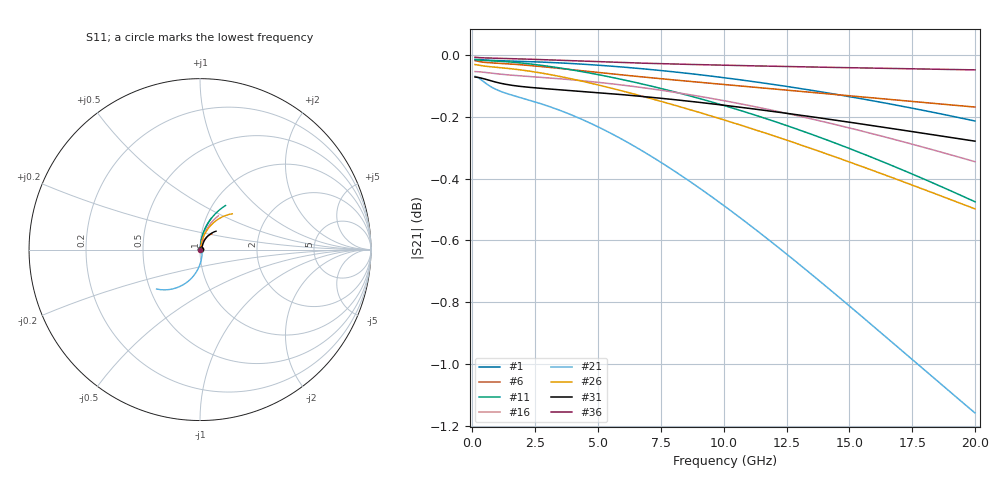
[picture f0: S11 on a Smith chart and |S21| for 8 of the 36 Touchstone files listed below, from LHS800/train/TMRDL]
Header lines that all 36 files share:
! Touchstone file exported from HFSS 2026.1.0
!  Design:  TMRDL
! Variables:
! Terminal data exported
# GHz S MA R 50.000000
Fixed: h_bsmrdl = 2um, h_ox = 20um, h_rdl = 5um, h_sub = 80um, h_tsv = 80um, h_via = 3um, l_bsmrdl = 300um, m_sub = 200um, r_tsv = 6um, s_tmrdl = 10um, w_bsmrdl = 18um, w_sub = 500um
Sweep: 100 MHz to 20 GHz
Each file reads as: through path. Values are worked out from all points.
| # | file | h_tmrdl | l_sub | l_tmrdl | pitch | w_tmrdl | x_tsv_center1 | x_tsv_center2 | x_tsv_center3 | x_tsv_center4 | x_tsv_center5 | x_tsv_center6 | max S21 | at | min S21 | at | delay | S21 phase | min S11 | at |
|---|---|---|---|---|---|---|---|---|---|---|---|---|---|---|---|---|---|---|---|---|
| 1 | dut860.s2p | 2.37um | 612.41um | 212.41um | 57.41um | 27.23um | 226.025um | 544.025um | 783.665um | 1101.665um | 1341.305um | 1659.305um | -0.01 dB | 100 MHz | -0.2 dB | 20 GHz | 2.58 ps | -10 deg at 10.1 GHz | -54.3 dB | 100 MHz |
| 2 | dut861.s2p | 5.12um | 677.14um | 277.14um | 35.35um | 14.52um | 284.4um | 602.4um | 894.06um | 1212.06um | 1503.72um | 1821.72um | -0.01 dB | 100 MHz | -0.2 dB | 20 GHz | 2.76 ps | -10 deg at 10.1 GHz | -54.8 dB | 100 MHz |
| 3 | dut862.s2p | 3.01um | 1021.47um | 621.47um | 32.74um | 28.38um | 635.66um | 953.66um | 1603.51um | 1921.51um | 2571.36um | 2889.36um | -0.03 dB | 100 MHz | -0.2 dB | 20 GHz | 4.9 ps | -18 deg at 10.1 GHz | -50.4 dB | 100 MHz |
| 4 | dut863.s2p | 2.44um | 1072.55um | 672.55um | 46.27um | 19.55um | 682.325um | 1000.325um | 1692.425um | 2010.425um | 2702.525um | 3020.525um | -0.05 dB | 100 MHz | -1.1 dB | 20 GHz | 6.5 ps | -25 deg at 10.1 GHz | -44.4 dB | 100 MHz |
| 5 | dut864.s2p | 3.18um | 641.29um | 241.29um | 30.76um | 29.35um | 255.965um | 573.965um | 844.605um | 1162.605um | 1433.245um | 1751.245um | -0.01 dB | 100 MHz | -0.1 dB | 20 GHz | 2.14 ps | -8 deg at 10.1 GHz | -58.0 dB | 100 MHz |
| 6 | dut865.s2p | 4.82um | 938.28um | 538.28um | 30.83um | 21.97um | 549.265um | 867.265um | 1427.515um | 1745.515um | 2305.765um | 2623.765um | -0.02 dB | 100 MHz | -0.2 dB | 20 GHz | 4.32 ps | -16 deg at 10.1 GHz | -52.9 dB | 100 MHz |
| 7 | dut866.s2p | 4um | 1145.96um | 745.96um | 35.95um | 19.99um | 755.955um | 1073.955um | 1839.905um | 2157.905um | 2923.855um | 3241.855um | -0.03 dB | 100 MHz | -0.6 dB | 20 GHz | 6.39 ps | -24 deg at 10.1 GHz | -47.6 dB | 100 MHz |
| 8 | dut867.s2p | 5.18um | 948.83um | 548.83um | 43.22um | 16.33um | 556.995um | 874.995um | 1440.155um | 1758.155um | 2323.315um | 2641.315um | -0.02 dB | 100 MHz | -0.7 dB | 20 GHz | 5.28 ps | -20 deg at 10.1 GHz | -49.5 dB | 100 MHz |
| 9 | dut868.s2p | 3.42um | 1322.22um | 922.22um | 21.76um | 10.62um | 927.53um | 1245.53um | 2178.37um | 2496.37um | 3429.21um | 3747.21um | -0.08 dB | 100 MHz | -0.9 dB | 20 GHz | 7.58 ps | -29 deg at 10.1 GHz | -40.6 dB | 100 MHz |
| 10 | dut869.s2p | 5.1um | 1099.23um | 699.23um | 35.54um | 26.87um | 712.665um | 1030.665um | 1756.765um | 2074.765um | 2800.865um | 3118.865um | -0.02 dB | 100 MHz | -0.2 dB | 20 GHz | 5.53 ps | -20 deg at 10.1 GHz | -52.4 dB | 100 MHz |
| 11 | dut870.s2p | 4.75um | 778.73um | 378.73um | 48.54um | 18.1um | 387.78um | 705.78um | 1102.61um | 1420.61um | 1817.44um | 2135.44um | -0.01 dB | 100 MHz | -0.5 dB | 20 GHz | 3.97 ps | -15 deg at 10.1 GHz | -52.2 dB | 100 MHz |
| 12 | dut871.s2p | 2.78um | 1045.69um | 645.69um | 51.83um | 22.75um | 657.065um | 975.065um | 1643.505um | 1961.505um | 2629.945um | 2947.945um | -0.03 dB | 100 MHz | -1.0 dB | 20 GHz | 6.27 ps | -24 deg at 10.1 GHz | -46.4 dB | 100 MHz |
| 13 | dut874.s2p | 4.01um | 832.73um | 432.73um | 30.09um | 18.93um | 442.195um | 760.195um | 1211.855um | 1529.855um | 1981.515um | 2299.515um | -0.02 dB | 100 MHz | -0.2 dB | 20 GHz | 3.69 ps | -14 deg at 10.1 GHz | -52.1 dB | 100 MHz |
| 14 | dut875.s2p | 5.39um | 556.34um | 156.34um | 38.17um | 26.18um | 169.43um | 487.43um | 669.95um | 987.95um | 1170.47um | 1488.47um | 0.00 dB | 100 MHz | 0.0 dB | 20 GHz | 1.45 ps | -5 deg at 10.1 GHz | -63.2 dB | 100 MHz |
| 15 | dut876.s2p | 4.53um | 1186.95um | 786.95um | 34.5um | 25.77um | 799.835um | 1117.835um | 1930.555um | 2248.555um | 3061.275um | 3379.275um | -0.02 dB | 100 MHz | -0.2 dB | 20 GHz | 6.23 ps | -23 deg at 10.1 GHz | -50.4 dB | 100 MHz |
| 16 | dut877.s2p | 2.18um | 781.17um | 381.17um | 20.7um | 10.4um | 386.37um | 704.37um | 1095.94um | 1413.94um | 1805.51um | 2123.51um | -0.05 dB | 100 MHz | -0.3 dB | 20 GHz | 3.49 ps | -13 deg at 10.1 GHz | -44.1 dB | 100 MHz |
| 17 | dut878.s2p | 4.96um | 1038.78um | 638.78um | 56.46um | 21.62um | 649.59um | 967.59um | 1627.99um | 1945.99um | 2606.39um | 2924.39um | -0.02 dB | 100 MHz | -1.0 dB | 20 GHz | 6.22 ps | -24 deg at 10.1 GHz | -48.7 dB | 100 MHz |
| 18 | dut879.s2p | 5.62um | 546.99um | 146.99um | 31.36um | 27.84um | 160.91um | 478.91um | 653.74um | 971.74um | 1146.57um | 1464.57um | 0.00 dB | 100 MHz | 0.0 dB | 20 GHz | 1.23 ps | -5 deg at 10.1 GHz | -65.5 dB | 100 MHz |
| 19 | dut880.s2p | 4.9um | 793.26um | 393.26um | 37.75um | 13.05um | 399.785um | 717.785um | 1124.095um | 1442.095um | 1848.405um | 2166.405um | -0.02 dB | 100 MHz | -0.5 dB | 20 GHz | 3.97 ps | -15 deg at 10.1 GHz | -50.8 dB | 100 MHz |
| 20 | dut881.s2p | 2.08um | 963.05um | 563.05um | 47.37um | 21.78um | 573.94um | 891.94um | 1476.77um | 1794.77um | 2379.6um | 2697.6um | -0.04 dB | 100 MHz | -0.8 dB | 20 GHz | 5.58 ps | -21 deg at 10.1 GHz | -45.5 dB | 100 MHz |
| 21 | dut883.s2p | 3.98um | 1312.65um | 912.65um | 11.65um | 10.49um | 917.895um | 1235.895um | 2159.035um | 2477.035um | 3400.175um | 3718.175um | -0.07 dB | 100 MHz | -1.2 dB | 20 GHz | 7.78 ps | -30 deg at 10.1 GHz | -42.1 dB | 100 MHz |
| 22 | dut884.s2p | 2.95um | 943.42um | 543.42um | 59.67um | 19.79um | 553.315um | 871.315um | 1434.525um | 1752.525um | 2315.735um | 2633.735um | -0.03 dB | 100 MHz | -1.1 dB | 20 GHz | 5.84 ps | -23 deg at 10.1 GHz | -46.8 dB | 100 MHz |
| 23 | dut885.s2p | 4.72um | 1232.49um | 832.49um | 40.78um | 28.83um | 846.905um | 1164.905um | 2026.225um | 2344.225um | 3205.545um | 3523.545um | -0.02 dB | 100 MHz | -0.3 dB | 20 GHz | 6.73 ps | -25 deg at 10.1 GHz | -50.4 dB | 100 MHz |
| 24 | dut886.s2p | 2.05um | 1097.88um | 697.88um | 37.09um | 19.22um | 707.49um | 1025.49um | 1742.59um | 2060.59um | 2777.69um | 3095.69um | -0.06 dB | 100 MHz | -0.8 dB | 20 GHz | 6.37 ps | -24 deg at 10.1 GHz | -43.1 dB | 100 MHz |
| 25 | dut887.s2p | 2.26um | 1392.88um | 992.88um | 19.86um | 18.06um | 1001.91um | 1319.91um | 2330.85um | 2648.85um | 3659.79um | 3977.79um | -0.08 dB | 100 MHz | -0.5 dB | 20 GHz | 7.79 ps | -29 deg at 10.1 GHz | -41.1 dB | 100 MHz |
| 26 | dut888.s2p | 4.67um | 1035.92um | 635.92um | 27.97um | 14.2um | 643.02um | 961.02um | 1611.14um | 1929.14um | 2579.26um | 2897.26um | -0.03 dB | 100 MHz | -0.5 dB | 20 GHz | 5.41 ps | -20 deg at 10.1 GHz | -48.0 dB | 100 MHz |
| 27 | dut889.s2p | 4.75um | 1128.06um | 728.06um | 49.74um | 21.34um | 738.73um | 1056.73um | 1806.13um | 2124.13um | 2873.53um | 3191.53um | -0.02 dB | 100 MHz | -1.0 dB | 20 GHz | 6.7 ps | -26 deg at 10.1 GHz | -48.0 dB | 100 MHz |
| 28 | dut890.s2p | 4.42um | 1100um | 700um | 51.32um | 27.03um | 713.515um | 1031.515um | 1758.545um | 2076.545um | 2803.575um | 3121.575um | -0.02 dB | 100 MHz | -0.7 dB | 20 GHz | 6.3 ps | -24 deg at 10.1 GHz | -49.4 dB | 100 MHz |
| 29 | dut891.s2p | 4.11um | 560.1um | 160.1um | 51.13um | 17.36um | 168.78um | 486.78um | 664.24um | 982.24um | 1159.7um | 1477.7um | -0.01 dB | 100 MHz | -0.2 dB | 20 GHz | 2.08 ps | -8 deg at 10.1 GHz | -57.3 dB | 100 MHz |
| 30 | dut892.s2p | 3.27um | 699.53um | 299.53um | 31.26um | 26.12um | 312.59um | 630.59um | 956.24um | 1274.24um | 1599.89um | 1917.89um | -0.01 dB | 100 MHz | -0.1 dB | 20 GHz | 2.44 ps | -9 deg at 10.1 GHz | -55.9 dB | 100 MHz |
| 31 | dut894.s2p | 2.09um | 975.35um | 575.35um | 16.66um | 12.14um | 581.42um | 899.42um | 1486.91um | 1804.91um | 2392.4um | 2710.4um | -0.07 dB | 100 MHz | -0.3 dB | 20 GHz | 4.54 ps | -17 deg at 10.1 GHz | -41.7 dB | 100 MHz |
| 32 | dut895.s2p | 5.54um | 974.62um | 574.62um | 28.53um | 21.47um | 585.355um | 903.355um | 1499.445um | 1817.445um | 2413.535um | 2731.535um | -0.02 dB | 100 MHz | -0.1 dB | 20 GHz | 4.47 ps | -17 deg at 10.1 GHz | -53.5 dB | 100 MHz |
| 33 | dut896.s2p | 5.96um | 805.34um | 405.34um | 48.79um | 12.54um | 411.61um | 729.61um | 1147.49um | 1465.49um | 1883.37um | 2201.37um | -0.02 dB | 100 MHz | -0.7 dB | 20 GHz | 4.41 ps | -17 deg at 10.1 GHz | -50.6 dB | 100 MHz |
| 34 | dut897.s2p | 4.65um | 919.44um | 519.44um | 31.45um | 24.39um | 531.635um | 849.635um | 1393.465um | 1711.465um | 2255.295um | 2573.295um | -0.02 dB | 100 MHz | -0.1 dB | 20 GHz | 4.11 ps | -15 deg at 10.1 GHz | -53.8 dB | 100 MHz |
| 35 | dut898.s2p | 2um | 842.19um | 442.19um | 19.24um | 10.59um | 447.485um | 765.485um | 1218.265um | 1536.265um | 1989.045um | 2307.045um | -0.07 dB | 100 MHz | -0.4 dB | 20 GHz | 3.9 ps | -15 deg at 10.1 GHz | -42.3 dB | 100 MHz |
| 36 | dut899.s2p | 5.88um | 568.89um | 168.89um | 21.26um | 15.86um | 176.82um | 494.82um | 679.57um | 997.57um | 1182.32um | 1500.32um | -0.01 dB | 100 MHz | 0.0 dB | 20 GHz | 1.35 ps | -5 deg at 10.1 GHz | -61.8 dB | 100 MHz |
